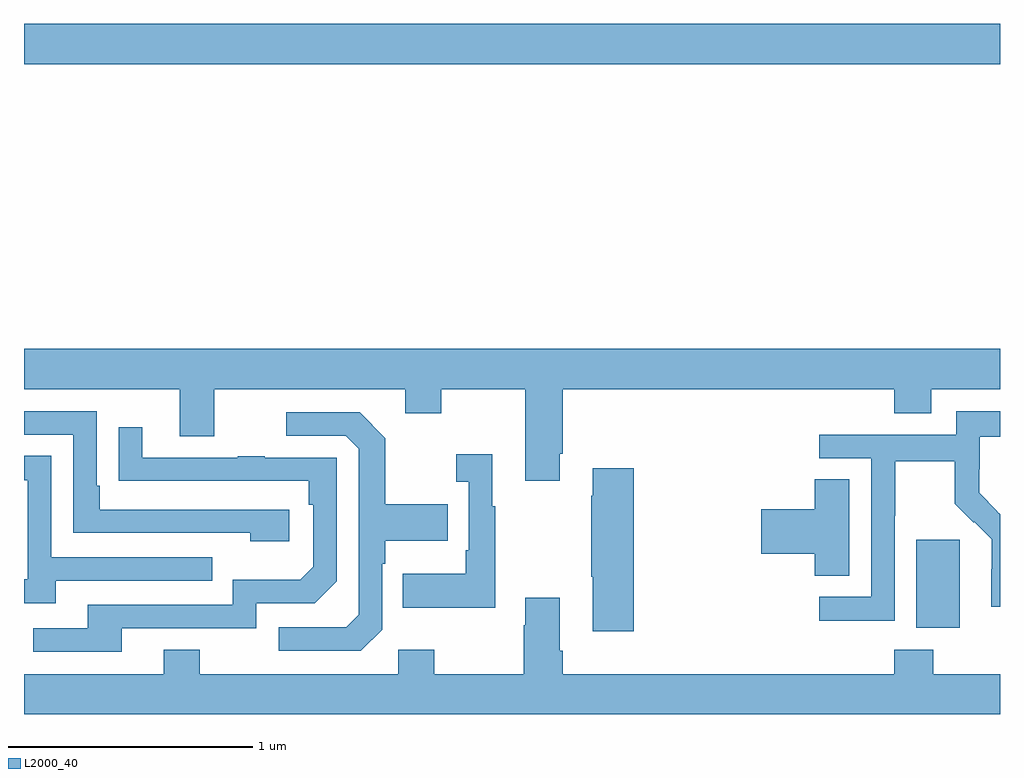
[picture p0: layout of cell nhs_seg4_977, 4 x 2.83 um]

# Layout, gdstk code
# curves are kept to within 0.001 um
import gdstk
lib = gdstk.Library(unit=1e-6, precision=1e-09)
def R(c, l, rs):  # rectangles x0, y0, x1, y1
    for r in rs: c.add(gdstk.rectangle(r[:2], r[2:], *l))
def P(c, l, *ps):  # polygons
    for p in ps: c.add(gdstk.Polygon(p, *l))
L2000_40 = (2000, 40)

nhs_seg4_977 = lib.new_cell('nhs_seg4_977')
R(nhs_seg4_977, L2000_40, [(164.657,795.842,164.836,796.203), (161,798.152,165,798.316)])
P(nhs_seg4_977, L2000_40, [(163.195,796.555),(163.208,796.555),(163.208,796.82),(164.567,796.82),(164.567,796.721),(164.719,796.721),(164.719,796.82),(165,796.82),(165,796.984),(161,796.984),(161,796.82),(161.639,796.82),(161.639,796.626),(161.779,796.626),(161.779,796.82),(162.563,796.82),(162.563,796.721),(162.711,796.721),(162.711,796.82),(163.055,796.82),(163.055,796.443),(163.195,796.443)],
  [(164.568,796.3),(164.571,796.3),(164.571,796.524),(164.815,796.524),(164.815,796.349),(164.892,796.272),(164.895,796.275),(164.966,796.205),(164.966,796.082),(164.964,796.082),(164.964,795.928),(165,795.928),(165,796.306),(164.987,796.319),(164.988,796.32),(164.914,796.394),(164.914,796.491),(164.916,796.491),(164.916,796.625),(165,796.625),(165,796.729),(164.82,796.729),(164.82,796.632),(164.259,796.632),(164.259,796.536),(164.472,796.536),(164.472,795.969),(164.259,795.969),(164.259,795.871),(164.568,795.871)],
  [(162.088,796.326),(161.311,796.326),(161.311,796.423),(161.298,796.423),(161.298,796.728),(161,796.728),(161,796.632),(161.202,796.632),(161.202,796.23),(161.927,796.23),(161.927,796.196),(162.088,796.196)],
  [(162.468,795.834),(162.468,796.103),(162.481,796.103),(162.481,796.199),(162.737,796.199),(162.737,796.347),(162.481,796.347),(162.481,796.619),(162.375,796.725),(162.075,796.725),(162.075,796.629),(162.318,796.629),(162.372,796.575),(162.372,795.894),(162.321,795.843),(162.045,795.843),(162.045,795.747),(162.381,795.747)],
  [(161.401,795.84),(161.952,795.84),(161.952,795.942),(162.192,795.942),(162.282,796.032),(162.282,796.539),(161.987,796.539),(161.987,796.544),(161.875,796.544),(161.875,796.539),(161.485,796.539),(161.485,796.663),(161.389,796.663),(161.389,796.444),(162.166,796.443),(162.166,796.346),(162.186,796.346),(162.186,796.092),(162.133,796.039),(161.856,796.039),(161.856,795.936),(161.261,795.936),(161.261,795.84),(161.037,795.84),(161.037,795.744),(161.401,795.744)],
  [(162.931,796.339),(162.919,796.339),(162.919,796.552),(162.771,796.552),(162.771,796.439),(162.822,796.439),(162.822,796.159),(162.81,796.159),(162.81,796.063),(162.553,796.063),(162.553,795.923),(162.931,795.923)],
  [(161.131,796.035),(161.771,796.035),(161.771,796.131),(161.112,796.131),(161.112,796.547),(161,796.547),(161,796.446),(161.016,796.446),(161.016,796.041),(161,796.041),(161,795.941),(161.131,795.941)],
  [(163.499,796.495),(163.331,796.495),(163.331,796.382),(163.324,796.382),(163.324,796.051),(163.331,796.051),(163.331,795.828),(163.499,795.828)],
  [(164.383,796.451),(164.24,796.451),(164.24,796.328),(164.022,796.328),(164.022,796.145),(164.24,796.145),(164.24,796.054),(164.383,796.054)],
  [(165,795.652),(164.727,795.652),(164.727,795.751),(164.567,795.751),(164.567,795.652),(163.208,795.652),(163.208,795.748),(163.195,795.748),(163.195,795.964),(163.055,795.964),(163.055,795.851),(163.048,795.851),(163.048,795.652),(162.681,795.652),(162.681,795.751),(162.534,795.751),(162.534,795.652),(161.721,795.652),(161.721,795.751),(161.573,795.751),(161.573,795.652),(161,795.652),(161,795.488),(165,795.488)])

lib.write_gds('nhs_seg4_977.gds')
